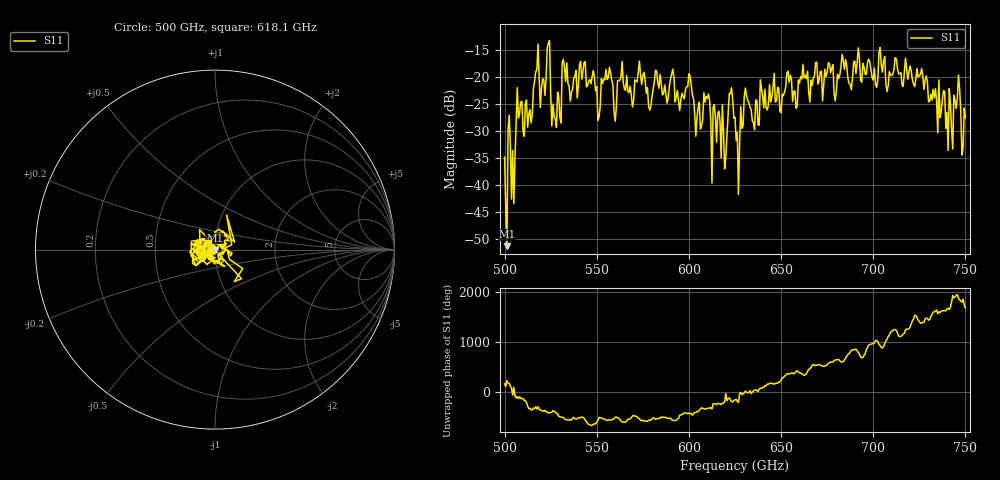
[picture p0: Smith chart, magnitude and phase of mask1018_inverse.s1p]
!Created with skrf (http://scikit-rf.org).
# GHz S MA R 50.0
!freq magS11 angS11
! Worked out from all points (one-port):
!   401 points, 500 GHz to 750 GHz, reference 50 ohm
!   lowest |S11| = -51.3 dB at 501.2 GHz (marker M1), VSWR 1.01, Z = 49.8 - j0.201 ohm
!   |S11| at or under -10 dB: start of sweep to end of sweep
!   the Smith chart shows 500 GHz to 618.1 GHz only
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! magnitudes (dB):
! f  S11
! 500 GHz  -34.8
! 501.2 GHz  -51.3
! 505 GHz  -43.5
! 508.1 GHz  -26.6
! 513.8 GHz  -26.0
! 517.5 GHz  -18.7
! 520.6 GHz  -20.3
! 523.8 GHz  -13.6
! 526.9 GHz  -27.3
! 531.2 GHz  -17.3
! 542.5 GHz  -19.0
! 550.6 GHz  -28.0
! 562.5 GHz  -20.6
! 593.8 GHz  -22.5
! 609.4 GHz  -23.5
! 618.8 GHz  -30.0
! 622.5 GHz  -23.1
! 625 GHz  -27.4
! 626.2 GHz  -30.2
! 631.2 GHz  -23.5
! 634.4 GHz  -28.1
! 656.2 GHz  -24.5
! 676.9 GHz  -19.2
! 680 GHz  -22.5
! 684.4 GHz  -18.5
! 687.5 GHz  -21.3
! 718.8 GHz  -20.4
! 750 GHz  -27.5
